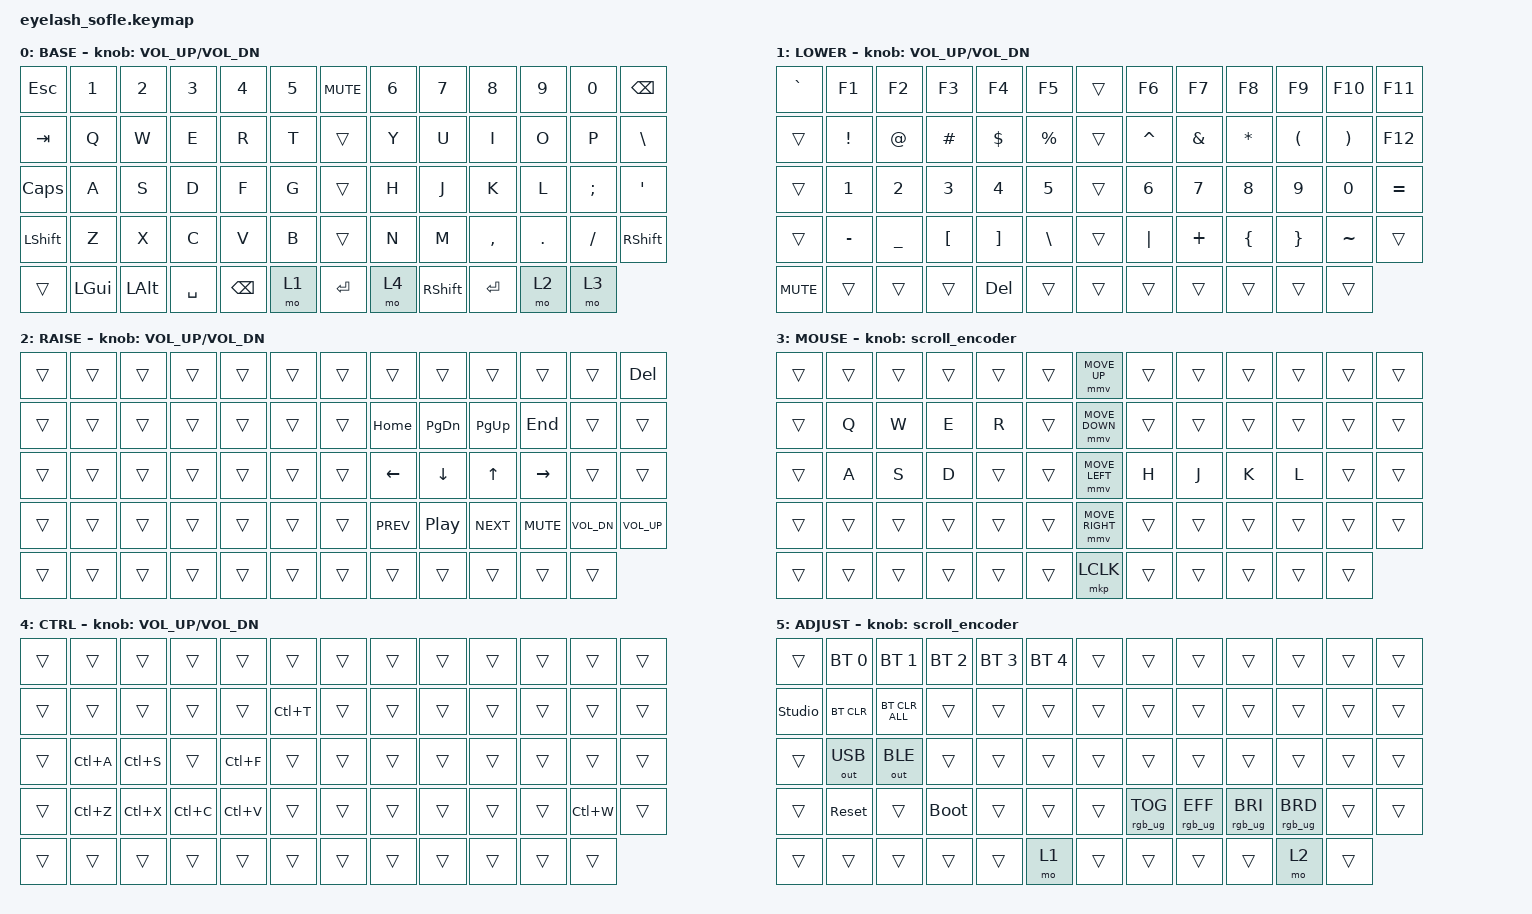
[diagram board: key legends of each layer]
#include <behaviors.dtsi>
#include <dt-bindings/zmk/bt.h>
#include <dt-bindings/zmk/keys.h>
#include <dt-bindings/zmk/mouse.h>
#include <dt-bindings/zmk/outputs.h>
#include <dt-bindings/zmk/rgb.h>

#include <input/processors.dtsi>

#define ZMK_MOUSE_DEFAULT_MOVE_VAL 1200
#define ZMK_MOUSE_DEFAULT_SCRL_VAL 20

/ {
    behaviors {
        mmv {
            acceleration-exponent = <1>;
            time-to-max-speed-ms = <900>;
            delay-ms = <0>;
        };

        msc {
            acceleration-exponent = <1>;
            time-to-max-speed-ms = <400>;
            delay-ms = <0>;
        };
    };

    scroll_encoder: scroll_encoder {
        compatible = "zmk,behavior-sensor-rotate";
        #sensor-binding-cells = <0>;
        bindings = <&msc SCRL_DOWN>, <&msc SCRL_UP>;
        tap-ms = <30>;
    };

    keymap {
        compatible = "zmk,keymap";

        layer0 {
            bindings = <
&kp ESC     &kp N1     &kp N2        &kp N3        &kp N4     &kp N5        &kp C_MUTE       &kp N6        &kp N7        &kp N8     &kp N9      &kp N0      &kp BSPC
&kp TAB     &kp Q      &kp W         &kp E         &kp R      &kp T         &trans           &kp Y         &kp U         &kp I      &kp O       &kp P       &kp BSLH
&kp CAPS    &kp A      &kp S         &kp D         &kp F      &kp G         &trans           &kp H         &kp J         &kp K      &kp L       &kp SEMI    &kp APOS
&kp LSHFT   &kp Z      &kp X         &kp C         &kp V      &kp B         &trans           &kp N         &kp M         &kp COMMA  &kp DOT     &kp FSLH    &kp RSHFT
&trans      &kp LGUI   &kp LALT      &kp SPACE     &kp BSPC   &mo 1         &kp ENTER        &mo 4         &kp RSHFT     &kp ENTER  &mo 2       &mo 3
            >;

            sensor-bindings = <&inc_dec_kp C_VOLUME_UP C_VOL_DN>;
            display-name = "BASE";
        };

        layer_1 {
            bindings = <
&kp GRAVE   &kp F1     &kp F2     &kp F3     &kp F4     &kp F5       &trans           &kp F6     &kp F7     &kp F8     &kp F9      &kp F10           &kp F11
&trans      &kp EXCL   &kp AT     &kp HASH   &kp DLLR   &kp PRCNT    &trans           &kp CARET  &kp AMPS   &kp ASTRK  &kp LPAR    &kp RPAR          &kp F12
&trans      &kp N1     &kp N2     &kp N3     &kp N4     &kp N5       &trans           &kp N6     &kp N7     &kp N8     &kp N9      &kp N0            &kp EQUAL
&trans      &kp MINUS  &kp UNDER  &kp LBKT   &kp RBKT   &kp BSLH     &trans           &kp PIPE   &kp PLUS   &kp LBRC   &kp RBRC    &kp TILDE         &trans
&kp C_MUTE  &trans     &trans     &trans     &kp DEL    &trans       &trans           &trans     &trans     &trans     &trans      &trans
            >;

            display-name = "LOWER";
            sensor-bindings = <&inc_dec_kp C_VOLUME_UP C_VOL_DN>;
        };

        layer_2 {
            bindings = <
&trans      &trans        &trans          &trans        &trans        &trans          &trans           &trans        &trans        &trans        &trans            &trans           &kp DEL
&trans      &trans        &trans          &trans        &trans        &trans          &trans           &kp HOME      &kp PG_DN     &kp PG_UP     &kp END           &trans           &trans
&trans      &trans        &trans          &trans        &trans        &trans          &trans           &kp LEFT      &kp DOWN      &kp UP        &kp RIGHT         &trans           &trans
&trans      &trans        &trans          &trans        &trans        &trans          &trans           &kp C_PREV    &kp C_PP      &kp C_NEXT    &kp C_MUTE        &kp C_VOL_DN     &kp C_VOL_UP
&trans      &trans        &trans          &trans        &trans        &trans          &trans           &trans        &trans        &trans        &trans            &trans
            >;

            display-name = "RAISE";
            sensor-bindings = <&inc_dec_kp C_VOLUME_UP C_VOL_DN>;
        };

        layer_3 {
            bindings = <
&trans      &trans        &trans          &trans        &trans        &trans          &mmv MOVE_UP     &trans        &trans        &trans        &trans            &trans           &trans
&trans      &kp Q         &kp W           &kp E         &kp R         &trans          &mmv MOVE_DOWN   &trans        &trans        &trans        &trans            &trans           &trans
&trans      &kp A         &kp S           &kp D         &trans        &trans          &mmv MOVE_LEFT   &kp H         &kp J         &kp K         &kp L             &trans           &trans
&trans      &trans        &trans          &trans        &trans        &trans          &mmv MOVE_RIGHT  &trans        &trans        &trans        &trans            &trans           &trans
&trans      &trans        &trans          &trans        &trans        &trans          &mkp LCLK        &trans        &trans        &trans        &trans            &trans
            >;

            display-name = "MOUSE";
            sensor-bindings = <&scroll_encoder>;
        };

        layer_4 {
            bindings = <
&trans      &trans        &trans          &trans        &trans        &trans          &trans           &trans        &trans        &trans        &trans            &trans           &trans
&trans      &trans        &trans          &trans        &trans        &kp LC(T)       &trans           &trans        &trans        &trans        &trans            &trans           &trans
&trans      &kp LC(A)     &kp LC(S)       &trans        &kp LC(F)     &trans          &trans           &trans        &trans        &trans        &trans            &trans           &trans
&trans      &kp LC(Z)     &kp LC(X)       &kp LC(C)     &kp LC(V)     &trans          &trans           &trans        &trans        &trans        &trans            &kp LC(W)        &trans
&trans      &trans        &trans          &trans        &trans        &trans          &trans           &trans        &trans        &trans        &trans            &trans
            >;

            display-name = "CTRL";
            sensor-bindings = <&inc_dec_kp C_VOLUME_UP C_VOL_DN>;
        };

        layer_5 {
            bindings = <
&trans          &bt BT_SEL 0  &bt BT_SEL 1    &bt BT_SEL 2  &bt BT_SEL 3  &bt BT_SEL 4    &trans           &trans           &trans           &trans        &trans      &trans           &trans
&studio_unlock  &bt BT_CLR    &bt BT_CLR_ALL  &trans        &trans        &trans          &trans           &trans           &trans           &trans        &trans      &trans           &trans
&trans          &out OUT_USB  &out OUT_BLE    &trans        &trans        &trans          &trans           &trans           &trans           &trans        &trans      &trans           &trans
&trans          &sys_reset    &trans          &bootloader   &trans        &trans          &trans           &rgb_ug RGB_TOG  &rgb_ug RGB_EFF  &rgb_ug RGB_BRI  &rgb_ug RGB_BRD  &trans       &trans
&trans          &trans        &trans          &trans        &trans        &mo 1           &trans           &trans           &trans           &trans        &mo 2       &trans
            >;

            display-name = "ADJUST";
            sensor-bindings = <&scroll_encoder>;
        };
    };
};
